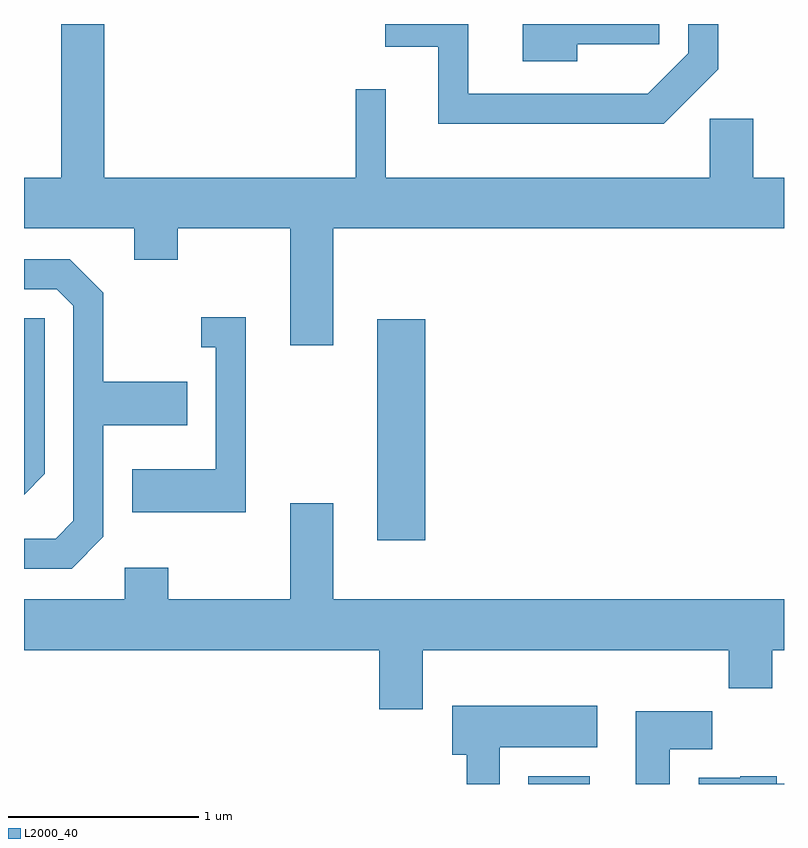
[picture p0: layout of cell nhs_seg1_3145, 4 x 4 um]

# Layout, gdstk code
import gdstk
lib = gdstk.Library(unit=1e-6, precision=1e-09)
def R(c, l, rs):  # rectangles x0, y0, x1, y1
    for r in rs: c.add(gdstk.rectangle(r[:2], r[2:], *l))
def P(c, l, *ps):  # polygons
    for p in ps: c.add(gdstk.Polygon(p, *l))
L2000_40 = (2000, 40)

nhs_seg1_3145 = lib.new_cell('nhs_seg1_3145')
R(nhs_seg1_3145, L2000_40, [(282.266,947.712,282.589,947.754), (281.471,948.996,281.724,950.159)])
P(nhs_seg1_3145, L2000_40, [(282.524,951.606),(282.954,951.606),(282.954,951.712),(282.236,951.712),(282.236,951.516),(282.524,951.516)],
  [(281.239,950.636),(283.611,950.636),(283.611,950.904),(283.449,950.904),(283.449,951.214),(283.221,951.214),(283.221,950.904),(281.514,950.904),(281.514,951.368),(281.356,951.368),(281.356,950.904),(280.034,950.904),(280.034,951.712),(279.806,951.712),(279.806,950.904),(279.611,950.904),(279.611,950.636),(280.191,950.636),(280.191,950.471),(280.419,950.471),(280.419,950.636),(281.011,950.636),(281.011,950.021),(281.239,950.021)],
  [(283.264,951.474),(283.264,951.712),(283.106,951.712),(283.106,951.557),(282.894,951.344),(281.949,951.344),(281.949,951.712),(281.511,951.712),(281.511,951.591),(281.791,951.591),(281.791,951.186),(282.977,951.186)],
  [(280.029,949.014),(280.029,949.601),(280.469,949.601),(280.469,949.829),(280.029,949.829),(280.029,950.297),(279.852,950.474),(279.611,950.474),(279.611,950.316),(279.784,950.316),(279.871,950.229),(279.871,949.097),(279.779,949.004),(279.611,949.004),(279.611,948.846),(279.862,948.846)],
  [(280.779,950.169),(280.543,950.169),(280.543,950.011),(280.621,950.011),(280.621,949.369),(280.181,949.369),(280.181,949.141),(280.779,949.141)],
  [(279.719,949.344),(279.719,950.164),(279.611,950.164),(279.611,949.235)],
  [(281.709,948.416),(283.321,948.416),(283.321,948.216),(283.549,948.216),(283.549,948.416),(283.611,948.416),(283.611,948.684),(281.239,948.684),(281.239,949.189),(281.011,949.189),(281.011,948.684),(280.369,948.684),(280.369,948.849),(280.141,948.849),(280.141,948.684),(279.611,948.684),(279.611,948.416),(281.481,948.416),(281.481,948.106),(281.709,948.106)],
  [(282.114,947.906),(282.629,947.906),(282.629,948.124),(281.866,948.124),(281.866,947.866),(281.941,947.866),(281.941,947.712),(282.114,947.712)],
  [(283.009,947.896),(283.234,947.896),(283.234,948.094),(282.831,948.094),(282.831,947.712),(283.009,947.712)],
  [(283.611,947.714),(283.574,947.714),(283.574,947.754),(283.38,947.754),(283.38,947.744),(283.161,947.744),(283.161,947.712),(283.611,947.712)])

lib.write_gds('nhs_seg1_3145.gds')
